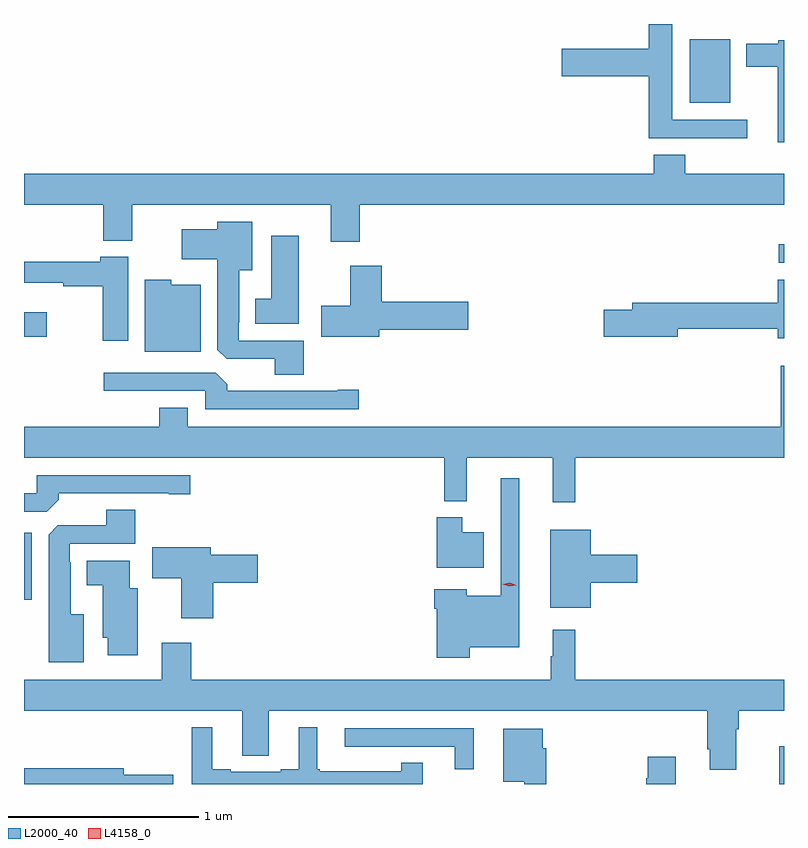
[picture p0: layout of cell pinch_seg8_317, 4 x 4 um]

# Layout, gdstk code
import gdstk
lib = gdstk.Library(unit=1e-6, precision=1e-09)
def R(c, l, rs):  # rectangles x0, y0, x1, y1
    for r in rs: c.add(gdstk.rectangle(r[:2], r[2:], *l))
def P(c, l, *ps):  # polygons
    for p in ps: c.add(gdstk.Polygon(p, *l))
L2000_40 = (2000, 40)
L4158_0 = (4158, 0)

pinch_seg8_317 = lib.new_cell('pinch_seg8_317')
R(pinch_seg8_317, L2000_40, [(618.694,1140.091,618.72,1140.29), (614.72,1141.061,614.761,1141.414), (614.72,1142.446,614.839,1142.575), (618.693,1142.835,618.72,1142.931), (618.224,1143.677,618.436,1144.012)])
P(pinch_seg8_317, L2000_40, [(618.526,1143.588),(618.133,1143.588),(618.133,1144.091),(618.008,1144.091),(618.008,1143.962),(617.55,1143.962),(617.55,1143.815),(618.008,1143.815),(618.008,1143.491),(618.526,1143.491)],
  [(618.72,1144.006),(618.69,1144.006),(618.69,1143.988),(618.521,1143.988),(618.521,1143.866),(618.686,1143.866),(618.686,1143.468),(618.72,1143.468)],
  [(616.487,1143.14),(618.72,1143.14),(618.72,1143.304),(618.2,1143.304),(618.2,1143.403),(618.035,1143.403),(618.035,1143.304),(614.72,1143.304),(614.72,1143.14),(615.137,1143.14),(615.137,1142.951),(615.289,1142.951),(615.289,1143.14),(616.334,1143.14),(616.334,1142.946),(616.487,1142.946)],
  [(616.193,1142.424),(615.849,1142.424),(615.849,1142.521),(615.853,1142.521),(615.853,1142.795),(615.922,1142.795),(615.922,1143.049),(615.737,1143.049),(615.737,1143.01),(615.549,1143.01),(615.549,1142.852),(615.737,1142.852),(615.737,1142.377),(615.786,1142.328),(616.04,1142.328),(616.04,1142.245),(616.193,1142.245)],
  [(616.165,1142.977),(616.022,1142.977),(616.022,1142.644),(615.938,1142.644),(615.938,1142.513),(616.165,1142.513)],
  [(615.268,1142.866),(615.122,1142.866),(615.122,1142.839),(614.72,1142.839),(614.72,1142.729),(614.926,1142.729),(614.926,1142.71),(615.134,1142.71),(615.134,1142.424),(615.268,1142.424)],
  [(616.591,1142.483),(617.059,1142.483),(617.059,1142.63),(616.604,1142.63),(616.604,1142.818),(616.436,1142.818),(616.436,1142.607),(616.284,1142.607),(616.284,1142.444),(616.591,1142.444)],
  [(615.649,1142.719),(615.495,1142.719),(615.495,1142.746),(615.356,1142.746),(615.356,1142.366),(615.649,1142.366)],
  [(618.72,1142.746),(618.686,1142.746),(618.686,1142.624),(617.921,1142.624),(617.921,1142.588),(617.772,1142.588),(617.772,1142.446),(618.16,1142.446),(618.16,1142.488),(618.686,1142.488),(618.686,1142.438),(618.72,1142.438)],
  [(617.621,1141.808),(618.72,1141.808),(618.72,1142.293),(618.703,1142.293),(618.703,1141.972),(615.583,1141.972),(615.583,1142.071),(615.431,1142.071),(615.431,1141.972),(614.72,1141.972),(614.72,1141.808),(616.933,1141.808),(616.933,1141.58),(617.051,1141.58),(617.051,1141.808),(617.504,1141.808),(617.504,1141.575),(617.621,1141.575)],
  [(616.483,1142.165),(616.37,1142.165),(616.37,1142.16),(615.791,1142.16),(615.791,1142.194),(615.729,1142.256),(615.141,1142.256),(615.141,1142.16),(615.675,1142.16),(615.675,1142.064),(616.483,1142.064)],
  [(614.903,1141.586),(614.903,1141.62),(615.482,1141.62),(615.482,1141.615),(615.595,1141.615),(615.595,1141.716),(614.787,1141.716),(614.787,1141.62),(614.72,1141.62),(614.72,1141.524),(614.841,1141.524)],
  [(617.067,1140.812),(617.326,1140.812),(617.326,1141.699),(617.229,1141.699),(617.229,1141.081),(617.05,1141.081),(617.05,1141.117),(616.88,1141.117),(616.88,1141.013),(616.892,1141.013),(616.892,1140.755),(617.067,1140.755)],
  [(615.034,1140.985),(614.965,1140.985),(614.965,1141.259),(614.961,1141.259),(614.961,1141.356),(615.305,1141.356),(615.305,1141.535),(615.152,1141.535),(615.152,1141.452),(614.898,1141.452),(614.849,1141.403),(614.849,1140.731),(615.034,1140.731)],
  [(617.14,1141.417),(617.026,1141.417),(617.026,1141.495),(616.892,1141.495),(616.892,1141.229),(617.14,1141.229)],
  [(617.704,1141.151),(617.947,1141.151),(617.947,1141.298),(617.704,1141.298),(617.704,1141.429),(617.489,1141.429),(617.489,1141.019),(617.704,1141.019)],
  [(615.716,1141.151),(615.949,1141.151),(615.949,1141.298),(615.703,1141.298),(615.703,1141.336),(615.396,1141.336),(615.396,1141.174),(615.548,1141.174),(615.548,1140.963),(615.716,1140.963)],
  [(615.319,1141.12),(615.277,1141.12),(615.277,1141.267),(615.05,1141.267),(615.05,1141.136),(615.134,1141.136),(615.134,1140.861),(615.161,1140.861),(615.161,1140.768),(615.319,1140.768)],
  [(618.469,1140.38),(618.482,1140.38),(618.482,1140.476),(618.72,1140.476),(618.72,1140.64),(617.621,1140.64),(617.621,1140.904),(617.504,1140.904),(617.504,1140.764),(617.493,1140.764),(617.493,1140.64),(615.599,1140.64),(615.599,1140.835),(615.446,1140.835),(615.446,1140.64),(614.72,1140.64),(614.72,1140.476),(615.869,1140.476),(615.869,1140.241),(616.009,1140.241),(616.009,1140.476),(618.317,1140.476),(618.317,1140.274),(618.329,1140.274),(618.329,1140.167),(618.469,1140.167)],
  [(616.819,1140.203),(616.706,1140.203),(616.706,1140.157),(616.276,1140.157),(616.276,1140.169),(616.264,1140.169),(616.264,1140.391),(616.166,1140.391),(616.166,1140.169),(616.07,1140.169),(616.07,1140.156),(615.808,1140.156),(615.808,1140.169),(615.712,1140.169),(615.712,1140.391),(615.603,1140.391),(615.603,1140.091),(616.819,1140.091)],
  [(617.086,1140.384),(616.407,1140.384),(616.407,1140.288),(616.988,1140.288),(616.988,1140.169),(617.086,1140.169)],
  [(617.468,1140.278),(617.449,1140.278),(617.449,1140.382),(617.243,1140.382),(617.243,1140.104),(617.352,1140.104),(617.352,1140.091),(617.468,1140.091)],
  [(618.151,1140.235),(618.003,1140.235),(618.003,1140.122),(617.995,1140.122),(617.995,1140.091),(618.151,1140.091)],
  [(615.505,1140.141),(615.244,1140.141),(615.244,1140.175),(614.72,1140.175),(614.72,1140.091),(615.505,1140.091)])
P(pinch_seg8_317, L4158_0, [(617.274,1141.131),(617.239,1141.143),(617.239,1141.143),(617.239,1141.143),(617.276,1141.15),(617.31,1141.138),(617.311,1141.138),(617.31,1141.138)])

lib.write_gds('pinch_seg8_317.gds')
